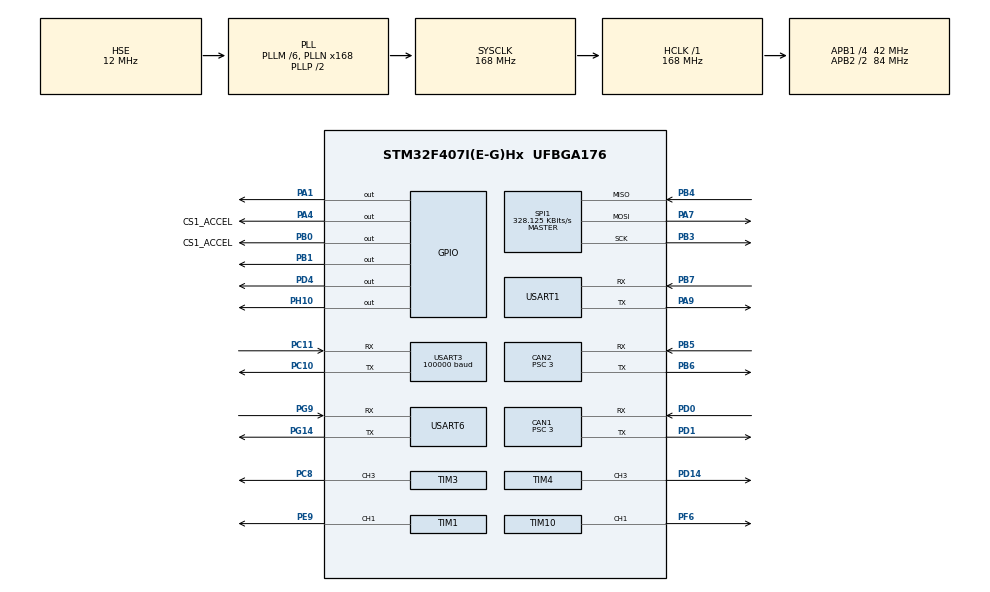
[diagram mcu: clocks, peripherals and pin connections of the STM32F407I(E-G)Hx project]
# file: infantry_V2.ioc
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CAN1.ABOM=ENABLE
CAN1.BS1=CAN_BS1_10TQ
CAN1.BS2=CAN_BS2_3TQ
CAN1.CalculateBaudRate=1000000
CAN1.CalculateTimeBit=1000
CAN1.CalculateTimeQuantum=71.42857142857143
CAN1.Prescaler=3
CAN2.ABOM=ENABLE
CAN2.BS1=CAN_BS1_10TQ
CAN2.BS2=CAN_BS2_3TQ
CAN2.CalculateBaudRate=1000000
CAN2.CalculateTimeBit=1000
CAN2.CalculateTimeQuantum=71.42857142857143
CAN2.Prescaler=3
Dma.Request0=USART1_RX
Dma.Request1=USART1_TX
Dma.Request2=USART3_RX
Dma.Request3=USART6_RX
Dma.Request4=USART6_TX
Dma.Request5=USART3_TX
Dma.USART1_RX.0.Direction=DMA_PERIPH_TO_MEMORY
Dma.USART1_RX.0.FIFOMode=DMA_FIFOMODE_DISABLE
Dma.USART1_RX.0.Instance=DMA2_Stream2
Dma.USART1_RX.0.MemDataAlignment=DMA_MDATAALIGN_BYTE
Dma.USART1_RX.0.MemInc=DMA_MINC_ENABLE
Dma.USART1_RX.0.Mode=DMA_CIRCULAR
Dma.USART1_RX.0.PeriphDataAlignment=DMA_PDATAALIGN_BYTE
Dma.USART1_RX.0.PeriphInc=DMA_PINC_DISABLE
Dma.USART1_RX.0.Priority=DMA_PRIORITY_LOW
Dma.USART1_TX.1.Direction=DMA_MEMORY_TO_PERIPH
Dma.USART1_TX.1.FIFOMode=DMA_FIFOMODE_DISABLE
Dma.USART1_TX.1.Instance=DMA2_Stream7
Dma.USART1_TX.1.MemDataAlignment=DMA_MDATAALIGN_BYTE
Dma.USART1_TX.1.MemInc=DMA_MINC_ENABLE
Dma.USART1_TX.1.Mode=DMA_CIRCULAR
Dma.USART1_TX.1.PeriphDataAlignment=DMA_PDATAALIGN_BYTE
Dma.USART1_TX.1.PeriphInc=DMA_PINC_DISABLE
Dma.USART1_TX.1.Priority=DMA_PRIORITY_LOW
Dma.USART3_RX.2.Direction=DMA_PERIPH_TO_MEMORY
Dma.USART3_RX.2.FIFOMode=DMA_FIFOMODE_DISABLE
Dma.USART3_RX.2.Instance=DMA1_Stream1
Dma.USART3_RX.2.MemDataAlignment=DMA_MDATAALIGN_BYTE
Dma.USART3_RX.2.MemInc=DMA_MINC_ENABLE
Dma.USART3_RX.2.Mode=DMA_CIRCULAR
Dma.USART3_RX.2.PeriphDataAlignment=DMA_PDATAALIGN_BYTE
Dma.USART3_RX.2.PeriphInc=DMA_PINC_DISABLE
Dma.USART3_RX.2.Priority=DMA_PRIORITY_VERY_HIGH
Dma.USART3_TX.5.Direction=DMA_MEMORY_TO_PERIPH
Dma.USART3_TX.5.FIFOMode=DMA_FIFOMODE_DISABLE
Dma.USART3_TX.5.Instance=DMA1_Stream3
Dma.USART3_TX.5.MemDataAlignment=DMA_MDATAALIGN_BYTE
Dma.USART3_TX.5.MemInc=DMA_MINC_ENABLE
Dma.USART3_TX.5.Mode=DMA_CIRCULAR
Dma.USART3_TX.5.PeriphDataAlignment=DMA_PDATAALIGN_BYTE
Dma.USART3_TX.5.PeriphInc=DMA_PINC_DISABLE
Dma.USART3_TX.5.Priority=DMA_PRIORITY_VERY_HIGH
Dma.USART6_RX.3.Direction=DMA_PERIPH_TO_MEMORY
Dma.USART6_RX.3.FIFOMode=DMA_FIFOMODE_DISABLE
Dma.USART6_RX.3.Instance=DMA2_Stream1
Dma.USART6_RX.3.MemDataAlignment=DMA_MDATAALIGN_BYTE
Dma.USART6_RX.3.MemInc=DMA_MINC_ENABLE
Dma.USART6_RX.3.Mode=DMA_NORMAL
Dma.USART6_RX.3.PeriphDataAlignment=DMA_PDATAALIGN_BYTE
Dma.USART6_RX.3.PeriphInc=DMA_PINC_DISABLE
Dma.USART6_RX.3.Priority=DMA_PRIORITY_LOW
Dma.USART6_TX.4.Direction=DMA_MEMORY_TO_PERIPH
Dma.USART6_TX.4.FIFOMode=DMA_FIFOMODE_DISABLE
Dma.USART6_TX.4.Instance=DMA2_Stream6
Dma.USART6_TX.4.MemDataAlignment=DMA_MDATAALIGN_BYTE
Dma.USART6_TX.4.MemInc=DMA_MINC_ENABLE
Dma.USART6_TX.4.Mode=DMA_NORMAL
Dma.USART6_TX.4.PeriphDataAlignment=DMA_PDATAALIGN_BYTE
Dma.USART6_TX.4.PeriphInc=DMA_PINC_DISABLE
Dma.USART6_TX.4.Priority=DMA_PRIORITY_LOW
FREERTOS.INCLUDE_uxTaskGetStackHighWaterMark=0
FREERTOS.Tasks01=defaultTask,2,256,StartDefaultTask,Default,NULL,Dynamic,NULL,NULL;myTask02,1,512,StartTask02,Default,NULL,Dynamic,NULL,NULL;myTask03,-2,256,StartTask03,Default,NULL,Dynamic,NULL,NULL;myTask04,-3,256,StartTask04,Default,NULL,Dynamic,NULL,NULL
FREERTOS.configUSE_TIMERS=1
Mcu.Family=STM32F4
Mcu.Name=STM32F407I(E-G)Hx
Mcu.Package=UFBGA176
NVIC.CAN1_RX0_IRQn=true\:5\:0\:false\:false\:true\:true\:true\:true\:true
NVIC.CAN2_RX0_IRQn=true\:5\:0\:false\:false\:true\:true\:true\:true\:true
NVIC.DMA1_Stream1_IRQn=true\:5\:0\:false\:false\:true\:true\:false\:true\:true
NVIC.DMA1_Stream3_IRQn=true\:5\:0\:false\:false\:true\:true\:false\:true\:true
NVIC.DMA2_Stream1_IRQn=true\:5\:0\:false\:false\:true\:true\:false\:true\:true
NVIC.DMA2_Stream2_IRQn=true\:5\:0\:false\:false\:true\:true\:false\:true\:true
NVIC.DMA2_Stream6_IRQn=true\:5\:0\:false\:false\:true\:true\:false\:true\:true
NVIC.DMA2_Stream7_IRQn=true\:5\:0\:false\:false\:true\:true\:false\:true\:true
NVIC.PriorityGroup=NVIC_PRIORITYGROUP_4
NVIC.TIM1_UP_TIM10_IRQn=true\:5\:0\:false\:false\:true\:false\:false\:true\:true
NVIC.TIM2_IRQn=true\:15\:0\:false\:false\:true\:false\:false\:true\:true
NVIC.TimeBase=TIM2_IRQn
NVIC.TimeBaseIP=TIM2
NVIC.USART1_IRQn=true\:5\:0\:false\:false\:true\:true\:true\:true\:true
NVIC.USART3_IRQn=true\:5\:0\:false\:false\:true\:true\:true\:true\:true
NVIC.USART6_IRQn=true\:5\:0\:false\:false\:true\:true\:true\:true\:true
PA1.PinState=GPIO_PIN_RESET
PA1.Signal=GPIO_Output
PA13.Mode=Serial_Wire
PA13.Signal=SYS_JTMS-SWDIO
PA14.Mode=Serial_Wire
PA14.Signal=SYS_JTCK-SWCLK
PA4.GPIO_Label=CS1_ACCEL
PA4.GPIO_PuPd=GPIO_PULLUP
PA4.GPIO_Speed=GPIO_SPEED_FREQ_HIGH
PA4.PinState=GPIO_PIN_SET
PA4.Signal=GPIO_Output
PA7.Mode=Full_Duplex_Master
PA7.Signal=SPI1_MOSI
PA9.Mode=Asynchronous
PA9.Signal=USART1_TX
PB0.GPIO_Label=CS1_ACCEL
PB0.GPIO_PuPd=GPIO_PULLUP
PB0.GPIO_Speed=GPIO_SPEED_FREQ_HIGH
PB0.PinState=GPIO_PIN_SET
PB0.Signal=GPIO_Output
PB1.PinState=GPIO_PIN_SET
PB1.Signal=GPIO_Output
PB3.Mode=Full_Duplex_Master
PB3.Signal=SPI1_SCK
PB4.Mode=Full_Duplex_Master
PB4.Signal=SPI1_MISO
PB5.Mode=CAN_Activate
PB5.Signal=CAN2_RX
PB6.Mode=CAN_Activate
PB6.Signal=CAN2_TX
PB7.Mode=Asynchronous
PB7.Signal=USART1_RX
PC10.Mode=Asynchronous
PC10.Signal=USART3_TX
PC11.Mode=Asynchronous
PC11.Signal=USART3_RX
PC8.Signal=S_TIM3_CH3
PD0.Mode=CAN_Activate
PD0.Signal=CAN1_RX
PD1.Mode=CAN_Activate
PD1.Signal=CAN1_TX
PD14.Signal=S_TIM4_CH3
PD4.Signal=GPIO_Output
PE9.Signal=S_TIM1_CH1
PF6.Signal=S_TIM10_CH1
PG14.Mode=Asynchronous
PG14.Signal=USART6_TX
PG9.Mode=Asynchronous
PG9.Signal=USART6_RX
PH0-OSC_IN.Mode=HSE-External-Oscillator
PH0-OSC_IN.Signal=RCC_OSC_IN
PH1-OSC_OUT.Mode=HSE-External-Oscillator
PH1-OSC_OUT.Signal=RCC_OSC_OUT
PH10.Signal=GPIO_Output
ProjectManager.HeapSize=0x200
ProjectManager.StackSize=0x400
ProjectManager.TargetToolchain=MDK-ARM V5.32
RCC.48MHZClocksFreq_Value=84000000
RCC.AHBFreq_Value=168000000
RCC.APB1CLKDivider=RCC_HCLK_DIV4
RCC.APB1Freq_Value=42000000
RCC.APB1TimFreq_Value=84000000
RCC.APB2CLKDivider=RCC_HCLK_DIV2
RCC.APB2Freq_Value=84000000
RCC.APB2TimFreq_Value=168000000
RCC.CortexFreq_Value=168000000
RCC.HCLKFreq_Value=168000000
RCC.HSE_VALUE=12000000
RCC.HSI_VALUE=16000000
RCC.LSE_VALUE=32768
RCC.PLLM=6
RCC.PLLN=168
RCC.PLLSourceVirtual=RCC_PLLSOURCE_HSE
RCC.SYSCLKFreq_VALUE=168000000
RCC.SYSCLKSource=RCC_SYSCLKSOURCE_PLLCLK
RCC.VCOOutputFreq_Value=336000000
SH.S_TIM10_CH1.0=TIM10_CH1,PWM Generation1 CH1
SH.S_TIM1_CH1.0=TIM1_CH1,PWM Generation1 CH1
SH.S_TIM3_CH3.0=TIM3_CH3,PWM Generation3 CH3
SH.S_TIM4_CH3.0=TIM4_CH3,PWM Generation3 CH3
SPI1.BaudRatePrescaler=SPI_BAUDRATEPRESCALER_256
SPI1.CLKPhase=SPI_PHASE_2EDGE
SPI1.CLKPolarity=SPI_POLARITY_HIGH
SPI1.CalculateBaudRate=328.125 KBits/s
SPI1.Direction=SPI_DIRECTION_2LINES
SPI1.Mode=SPI_MODE_MASTER
SPI1.VirtualType=VM_MASTER
TIM1.AutoReloadPreload=TIM_AUTORELOAD_PRELOAD_ENABLE
TIM1.Channel-PWM\ Generation1\ CH1=TIM_CHANNEL_1
TIM1.Period=1999
TIM1.Prescaler=1679
TIM10.Channel=TIM_CHANNEL_1
TIM10.Period=5000-1
TIM3.AutoReloadPreload=TIM_AUTORELOAD_PRELOAD_ENABLE
TIM3.Channel-PWM\ Generation3\ CH3=TIM_CHANNEL_3
TIM3.Period=1999
TIM3.Prescaler=167
TIM4.AutoReloadPreload=TIM_AUTORELOAD_PRELOAD_ENABLE
TIM4.Channel-PWM\ Generation3\ CH3=TIM_CHANNEL_3
TIM4.Period=250-1
TIM4.Prescaler=84-1
USART1.VirtualMode=VM_ASYNC
USART3.BaudRate=100000
USART3.VirtualMode=VM_ASYNC
USART6.VirtualMode=VM_ASYNC
VP_FREERTOS_VS_CMSIS_V1.Mode=CMSIS_V1
VP_SYS_VS_tim2.Mode=TIM2
VP_TIM10_VS_ClockSourceINT.Mode=Enable_Timer
VP_TIM1_VS_ClockSourceINT.Mode=Internal
VP_TIM3_VS_ClockSourceINT.Mode=Internal
VP_TIM4_VS_ClockSourceINT.Mode=Internal
board=custom

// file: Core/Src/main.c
/* USER CODE BEGIN Header */
/**
  ******************************************************************************
  * @file           : main.c
  * @brief          : Main program body
  ******************************************************************************
  * @attention
  *
  * Copyright (c) 2023 STMicroelectronics.
  * All rights reserved.
  *
  * This software is licensed under terms that can be found in the LICENSE file
  * in the root directory of this software component.
  * If no LICENSE file comes with this software, it is provided AS-IS.
  *
  ******************************************************************************
  */
/* USER CODE END Header */
#include "main.h"
#include "cmsis_os.h"
#include "can.h"
#include "dma.h"
#include "spi.h"
#include "tim.h"
#include "usart.h"
#include "gpio.h"

/* USER CODE BEGIN Includes */
#include "all_task.h"
/* USER CODE END Includes */

void SystemClock_Config(void);
void MX_FREERTOS_Init(void);

int main(void)
{

  /* MCU Configuration--------------------------------------------------------*/

  /* Reset of all peripherals, Initializes the Flash interface and the Systick. */
  HAL_Init();

  /* Configure the system clock */
  SystemClock_Config();

  /* Initialize all configured peripherals */
  MX_GPIO_Init();
  MX_DMA_Init();
  MX_CAN1_Init();
  MX_CAN2_Init();
  MX_SPI1_Init();
  MX_USART1_UART_Init();
  MX_USART3_UART_Init();
  MX_USART6_UART_Init();
  MX_TIM4_Init();
  MX_TIM10_Init();
  MX_TIM3_Init();
  MX_TIM1_Init();
  /* USER CODE BEGIN 2 */

	base_Init();
	task_Init();

  /* USER CODE END 2 */

  /* Call init function for freertos objects (in freertos.c) */
  MX_FREERTOS_Init();

  /* Start scheduler */
  osKernelStart();

  /* We should never get here as control is now taken by the scheduler */
  /* Infinite loop */
  while (1)
  {

  }
}

void SystemClock_Config(void)
{
  RCC_OscInitTypeDef RCC_OscInitStruct = {0};
  RCC_ClkInitTypeDef RCC_ClkInitStruct = {0};

  /** Configure the main internal regulator output voltage
  */
  __HAL_RCC_PWR_CLK_ENABLE();
  __HAL_PWR_VOLTAGESCALING_CONFIG(PWR_REGULATOR_VOLTAGE_SCALE1);

  /** Initializes the RCC Oscillators according to the specified parameters
  * in the RCC_OscInitTypeDef structure.
  */
  RCC_OscInitStruct.OscillatorType = RCC_OSCILLATORTYPE_HSE;
  RCC_OscInitStruct.HSEState = RCC_HSE_ON;
  RCC_OscInitStruct.PLL.PLLState = RCC_PLL_ON;
  RCC_OscInitStruct.PLL.PLLSource = RCC_PLLSOURCE_HSE;
  RCC_OscInitStruct.PLL.PLLM = 6;
  RCC_OscInitStruct.PLL.PLLN = 168;
  RCC_OscInitStruct.PLL.PLLP = RCC_PLLP_DIV2;
  RCC_OscInitStruct.PLL.PLLQ = 4;
  if (HAL_RCC_OscConfig(&RCC_OscInitStruct) != HAL_OK)
  {
    Error_Handler();
  }

  /** Initializes the CPU, AHB and APB buses clocks
  */
  RCC_ClkInitStruct.ClockType = RCC_CLOCKTYPE_HCLK|RCC_CLOCKTYPE_SYSCLK
                              |RCC_CLOCKTYPE_PCLK1|RCC_CLOCKTYPE_PCLK2;
  RCC_ClkInitStruct.SYSCLKSource = RCC_SYSCLKSOURCE_PLLCLK;
  RCC_ClkInitStruct.AHBCLKDivider = RCC_SYSCLK_DIV1;
  RCC_ClkInitStruct.APB1CLKDivider = RCC_HCLK_DIV4;
  RCC_ClkInitStruct.APB2CLKDivider = RCC_HCLK_DIV2;

  if (HAL_RCC_ClockConfig(&RCC_ClkInitStruct, FLASH_LATENCY_5) != HAL_OK)
  {
    Error_Handler();
  }
}

void HAL_TIM_PeriodElapsedCallback(TIM_HandleTypeDef *htim)
{
  if (htim->Instance == TIM2) {
    HAL_IncTick();
  }
}

void Error_Handler(void)
{
  __disable_irq();
  while (1)
  {
  }
}

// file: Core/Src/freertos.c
/* USER CODE BEGIN Header */
/**
  ******************************************************************************
  * File Name          : freertos.c
  * Description        : Code for freertos applications
  ******************************************************************************
  * @attention
  *
  * Copyright (c) 2023 STMicroelectronics.
  * All rights reserved.
  *
  * This software is licensed under terms that can be found in the LICENSE file
  * in the root directory of this software component.
  * If no LICENSE file comes with this software, it is provided AS-IS.
  *
  ******************************************************************************
  */
/* USER CODE END Header */

#include "FreeRTOS.h"
#include "task.h"
#include "main.h"
#include "cmsis_os.h"

/* USER CODE BEGIN Includes */
#include "main.h"
#include "all_task.h"
/* USER CODE END Includes */

/* USER CODE BEGIN PD */
int nuumb = 0;
/* ���о��, �������� */
QueueHandle_t xQueueVision;
/* USER CODE END PD */

osThreadId defaultTaskHandle;
osThreadId myTask02Handle;
osThreadId myTask03Handle;
osThreadId myTask04Handle;

void StartDefaultTask(void const * argument);
void StartTask02(void const * argument);
void StartTask03(void const * argument);
void StartTask04(void const * argument);

void MX_FREERTOS_Init(void); /* (MISRA C 2004 rule 8.1) */

/* GetIdleTaskMemory prototype (linked to static allocation support) */
void vApplicationGetIdleTaskMemory( StaticTask_t **ppxIdleTaskTCBBuffer, StackType_t **ppxIdleTaskStackBuffer, uint32_t *pulIdleTaskStackSize );

/* GetTimerTaskMemory prototype (linked to static allocation support) */
void vApplicationGetTimerTaskMemory( StaticTask_t **ppxTimerTaskTCBBuffer, StackType_t **ppxTimerTaskStackBuffer, uint32_t *pulTimerTaskStackSize );

/* USER CODE BEGIN GET_IDLE_TASK_MEMORY */
static StaticTask_t xIdleTaskTCBBuffer;
static StackType_t xIdleStack[configMINIMAL_STACK_SIZE];

void vApplicationGetIdleTaskMemory( StaticTask_t **ppxIdleTaskTCBBuffer, StackType_t **ppxIdleTaskStackBuffer, uint32_t *pulIdleTaskStackSize )
{
  *ppxIdleTaskTCBBuffer = &xIdleTaskTCBBuffer;
  *ppxIdleTaskStackBuffer = &xIdleStack[0];
  *pulIdleTaskStackSize = configMINIMAL_STACK_SIZE;
  /* place for user code */
}
/* USER CODE END GET_IDLE_TASK_MEMORY */

/* USER CODE BEGIN GET_TIMER_TASK_MEMORY */
static StaticTask_t xTimerTaskTCBBuffer;
static StackType_t xTimerStack[configTIMER_TASK_STACK_DEPTH];

void vApplicationGetTimerTaskMemory( StaticTask_t **ppxTimerTaskTCBBuffer, StackType_t **ppxTimerTaskStackBuffer, uint32_t *pulTimerTaskStackSize )
{
  *ppxTimerTaskTCBBuffer = &xTimerTaskTCBBuffer;
  *ppxTimerTaskStackBuffer = &xTimerStack[0];
  *pulTimerTaskStackSize = configTIMER_TASK_STACK_DEPTH;
  /* place for user code */
}
/* USER CODE END GET_TIMER_TASK_MEMORY */

void MX_FREERTOS_Init(void) {
  /* USER CODE BEGIN Init */

    xQueueVision = xQueueCreate( 10, sizeof( int32_t ) );//��������
  /* USER CODE END Init */

  /* Create the thread(s) */
  /* definition and creation of defaultTask */
  osThreadDef(defaultTask, StartDefaultTask, osPriorityHigh, 0, 256);
  defaultTaskHandle = osThreadCreate(osThread(defaultTask), NULL);

  /* definition and creation of myTask02 */
  osThreadDef(myTask02, StartTask02, osPriorityAboveNormal, 0, 512);
  myTask02Handle = osThreadCreate(osThread(myTask02), NULL);

  /* definition and creation of myTask03 */
  osThreadDef(myTask03, StartTask03, osPriorityLow, 0, 256);
  myTask03Handle = osThreadCreate(osThread(myTask03), NULL);

  /* definition and creation of myTask04 */
  osThreadDef(myTask04, StartTask04, osPriorityIdle, 0, 256);
  myTask04Handle = osThreadCreate(osThread(myTask04), NULL);

}

void StartDefaultTask(void const * argument)
{
  /* USER CODE BEGIN StartDefaultTask */
  /* Infinite loop */
  for(;;)
  {
	  imu_sensor_update(&imu);
	  imu_all_task();
	  key_all_task();

    osDelay(1);
  }
  /* USER CODE END StartDefaultTask */
}

/* USER CODE BEGIN Header_StartTask02 */
/**
* @brief Function implementing the myTask02 thread.
* @param argument: Not used
* @retval None
*/
int i;
/* USER CODE END Header_StartTask02 */
void StartTask02(void const * argument)
{
  /* USER CODE BEGIN StartTask02 */
  /* Infinite loop */
  for(;;)
  {
	  chassis_all_task();
	gimbal_all_task();

    osDelay(1);
  }
  /* USER CODE END StartTask02 */
}

void StartTask03(void const * argument)
{
	int8_t lReceivedValue;
  /* USER CODE BEGIN StartTask03 */
  /* Infinite loop */
  for(;;)
  {
	 xQueueReceive( xQueueVision, &lReceivedValue, portMAX_DELAY );//һֱ����ֱ��������
	 vision_data_hand();
    osDelay(1);
  }
  /* USER CODE END StartTask03 */
}

void StartTask04(void const * argument)
{
  /* USER CODE BEGIN StartTask04 */
  /* Infinite loop */
  for(;;)
  {
	  referee_all_task();
    osDelay(1);
  }
  /* USER CODE END StartTask04 */
}
